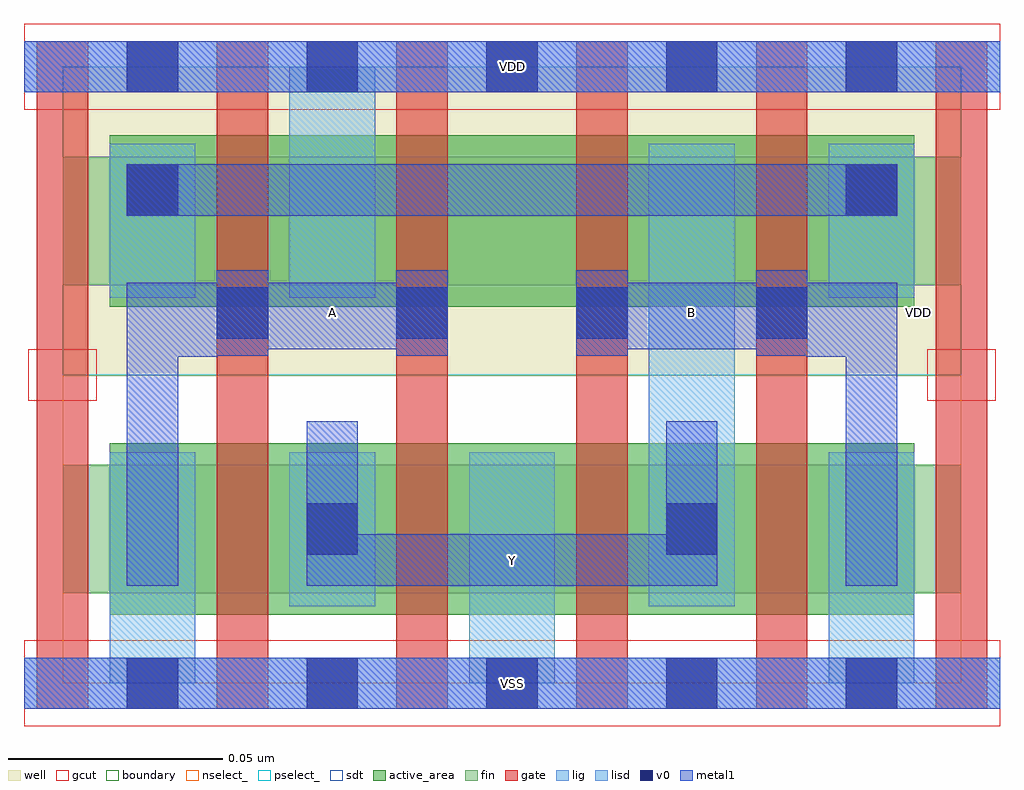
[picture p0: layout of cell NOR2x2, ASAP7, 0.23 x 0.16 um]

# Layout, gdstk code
import gdstk
lib = gdstk.Library(unit=1e-6, precision=2.5e-10)
def R(c, l, rs):  # rectangles x0, y0, x1, y1
    for r in rs: c.add(gdstk.rectangle(r[:2], r[2:], *l))
def A(c, l, x, y, w, h, nx, ny, dx, dy):  # array of equal rectangles
    R(c, l, [(x+i*dx, y+j*dy, x+i*dx+w, y+j*dy+h) for i in range(nx) for j in range(ny)])
def P(c, l, *ps):  # polygons
    for p in ps: c.add(gdstk.Polygon(p, *l))
well = (1, 0)
fin = (2, 0)
gate = (7, 0)
gcut = (10, 0)
active_area = (11, 0)
nselect_ = (12, 0)
pselect_ = (13, 0)
lig = (16, 0)
lisd = (17, 0)
v0 = (18, 0)
metal1 = (19, 0)
sdt = (88, 0)
boundary = (100, 0)

nor2x2 = lib.new_cell('NOR2x2')
R(nor2x2, well, [(0,0.072,0.21,0.144)])
R(nor2x2, fin, [(0,0.021,0.21,0.051), (0,0.093,0.21,0.123)])
A(nor2x2, gate, -0.006, -0.006, 0.012, 0.156, 6, 1, 0.042, 0)
R(nor2x2, gcut, [(-0.009,-0.01,0.219,0.01), (-0.008,0.066,0.008,0.078), (0.202,0.066,0.218,0.078), (-0.009,0.134,0.219,0.154)])
R(nor2x2, active_area, [(0.011,0.016,0.199,0.056), (0.011,0.088,0.199,0.128)])
R(nor2x2, nselect_, [(0,0,0.21,0.072)])
R(nor2x2, pselect_, [(0,0.072,0.21,0.144)])
A(nor2x2, lig, 0.036, 0.0805, 0.012, 0.012, 4, 1, 0.042, 0)
R(nor2x2, lig, [(-0.009,-0.006,0.219,0.006), (-0.009,0.138,0.219,0.15)])
A(nor2x2, lisd, 0.011, 0, 0.02, 0.054, 3, 1, 0.084, 0)
R(nor2x2, lisd, [(0.053,0.018,0.073,0.054), (0.137,0.018,0.157,0.126), (0.011,0.09,0.031,0.126), (0.053,0.09,0.073,0.144), (0.179,0.09,0.199,0.126)])
A(nor2x2, v0, 0.015, -0.006, 0.012, 0.012, 5, 2, 0.042, 0.144)
A(nor2x2, v0, 0.036, 0.0805, 0.012, 0.012, 4, 1, 0.042, 0)
R(nor2x2, v0, [(0.057,0.03,0.069,0.042), (0.141,0.03,0.153,0.042), (0.015,0.1092,0.027,0.1212), (0.183,0.1092,0.195,0.1212)])
R(nor2x2, metal1, [(-0.009,-0.006,0.219,0.006), (0.015,0.1092,0.195,0.1212), (-0.009,0.138,0.219,0.15)])
P(nor2x2, metal1, [(0.027,0.0762),(0.0362,0.0762),(0.0362,0.0765),(0.048,0.0765),(0.048,0.078),(0.078,0.078),(0.078,0.0765),(0.09,0.0765),(0.09,0.0965),(0.078,0.0965),(0.078,0.0935),(0.048,0.0935),(0.048,0.0965),(0.036,0.0965),(0.036,0.0935),(0.015,0.0935),(0.015,0.0227),(0.027,0.0227)],
  [(0.195,0.0935),(0.174,0.0935),(0.174,0.0965),(0.162,0.0965),(0.162,0.0935),(0.132,0.0935),(0.132,0.0965),(0.12,0.0965),(0.12,0.0765),(0.132,0.0765),(0.132,0.078),(0.162,0.078),(0.162,0.0765),(0.1738,0.0765),(0.1738,0.0762),(0.183,0.0762),(0.183,0.0227),(0.195,0.0227)],
  [(0.153,0.0612),(0.141,0.0612),(0.141,0.0348),(0.069,0.0348),(0.069,0.0612),(0.057,0.0612),(0.057,0.0227),(0.153,0.0227)])
A(nor2x2, sdt, 0.011, 0.021, 0.02, 0.03, 5, 1, 0.042, 0)
R(nor2x2, sdt, [(0.011,0.093,0.031,0.123), (0.053,0.093,0.073,0.123), (0.137,0.093,0.157,0.123), (0.179,0.093,0.199,0.123)])
R(nor2x2, boundary, [(0,0,0.21,0.144)])
nor2x2.add(gdstk.Label('VDD', (0.2,0.0865), layer=1, texttype=251))
nor2x2.add(gdstk.Label('VSS', (0.249,0.0505), layer=3, texttype=251))
nor2x2.add(gdstk.Label('B', (0.147,0.0865), layer=19, texttype=251))
nor2x2.add(gdstk.Label('Y', (0.105,0.0288), layer=19, texttype=251))
nor2x2.add(gdstk.Label('A', (0.063,0.0865), layer=19, texttype=251))
nor2x2.add(gdstk.Label('VSS', (0.105,0), layer=19, texttype=251))
nor2x2.add(gdstk.Label('VDD', (0.105,0.144), layer=19, texttype=251))

lib.write_gds('NOR2x2.gds')
